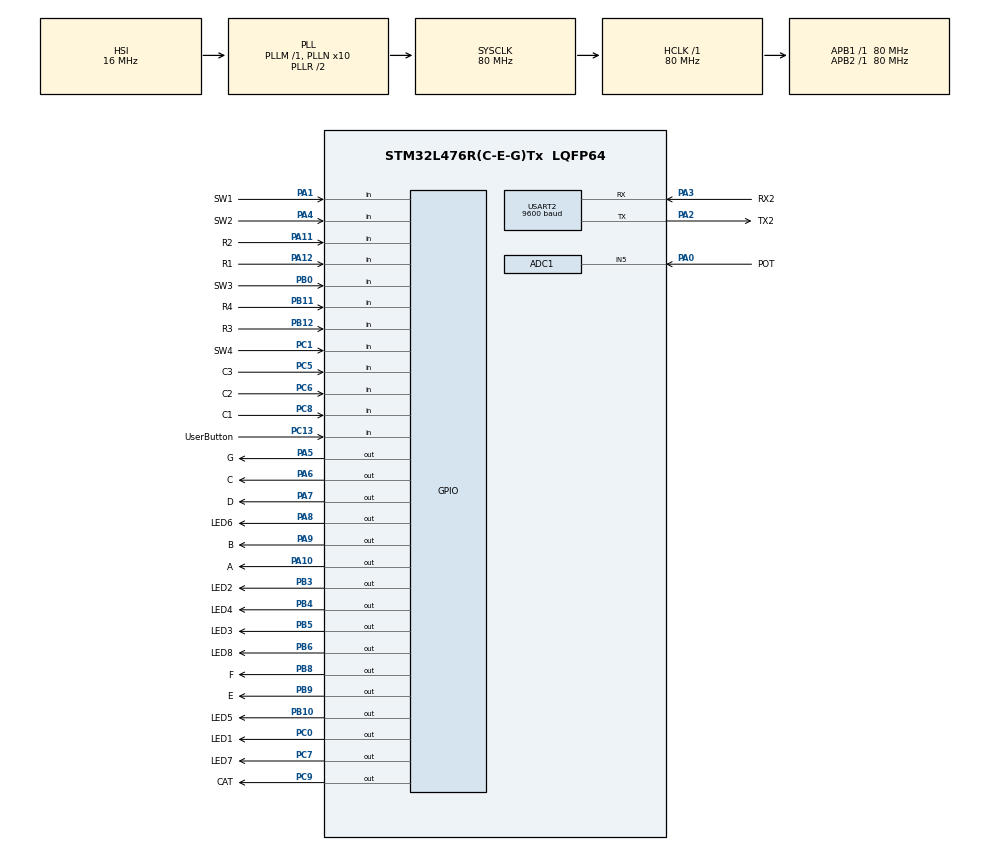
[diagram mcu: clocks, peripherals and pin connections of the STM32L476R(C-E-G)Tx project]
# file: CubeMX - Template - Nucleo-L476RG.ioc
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ADC1.Channel-0\#ChannelRegularConversion=ADC_CHANNEL_5
ADC1.NbrOfConversionFlag=1
ADC1.OffsetNumber-0\#ChannelRegularConversion=ADC_OFFSET_NONE
ADC1.Overrun=ADC_OVR_DATA_OVERWRITTEN
ADC1.Rank-0\#ChannelRegularConversion=1
ADC1.Resolution=ADC_RESOLUTION_12B
ADC1.SamplingTime-0\#ChannelRegularConversion=ADC_SAMPLETIME_2CYCLES_5
ADC1.master=1
Mcu.Family=STM32L4
Mcu.Name=STM32L476R(C-E-G)Tx
Mcu.Package=LQFP64
NVIC.PriorityGroup=NVIC_PRIORITYGROUP_4
PA0.GPIO_Label=POT
PA0.Signal=ADCx_IN5
PA1.GPIO_Label=SW1
PA1.Signal=GPIO_Input
PA10.GPIO_Label=A
PA10.Signal=GPIO_Output
PA11.GPIO_Label=R2
PA11.Signal=GPIO_Input
PA12.GPIO_Label=R1
PA12.Signal=GPIO_Input
PA13\ (JTMS-SWDIO).GPIO_Label=TMS
PA13\ (JTMS-SWDIO).Mode=Serial_Wire
PA13\ (JTMS-SWDIO).Signal=SYS_JTMS-SWDIO
PA14\ (JTCK-SWCLK).GPIO_Label=TCK
PA14\ (JTCK-SWCLK).Mode=Serial_Wire
PA14\ (JTCK-SWCLK).Signal=SYS_JTCK-SWCLK
PA2.GPIO_Label=TX2
PA2.GPIO_Mode=GPIO_MODE_AF_PP
PA2.GPIO_PuPd=GPIO_NOPULL
PA2.GPIO_Speed=GPIO_SPEED_FREQ_VERY_HIGH
PA2.Mode=Asynchronous
PA2.Signal=USART2_TX
PA3.GPIO_Label=RX2
PA3.GPIO_Mode=GPIO_MODE_AF_PP
PA3.GPIO_PuPd=GPIO_NOPULL
PA3.GPIO_Speed=GPIO_SPEED_FREQ_VERY_HIGH
PA3.Mode=Asynchronous
PA3.Signal=USART2_RX
PA4.GPIO_Label=SW2
PA4.Signal=GPIO_Input
PA5.GPIO_Label=G
PA5.GPIO_ModeDefaultOutputPP=GPIO_MODE_OUTPUT_PP
PA5.GPIO_PuPd=GPIO_NOPULL
PA5.GPIO_Speed=GPIO_SPEED_FREQ_LOW
PA5.Signal=GPIO_Output
PA6.GPIO_Label=C
PA6.Signal=GPIO_Output
PA7.GPIO_Label=D
PA7.Signal=GPIO_Output
PA8.GPIO_Label=LED6
PA8.Signal=GPIO_Output
PA9.GPIO_Label=B
PA9.Signal=GPIO_Output
PB0.GPIO_Label=SW3
PB0.Signal=GPIO_Input
PB10.GPIO_Label=LED5
PB10.Signal=GPIO_Output
PB11.GPIO_Label=R4
PB11.Signal=GPIO_Input
PB12.GPIO_Label=R3
PB12.Signal=GPIO_Input
PB3\ (JTDO-TRACESWO).GPIO_Label=LED2
PB3\ (JTDO-TRACESWO).Signal=GPIO_Output
PB4\ (NJTRST).GPIO_Label=LED4
PB4\ (NJTRST).Signal=GPIO_Output
PB5.GPIO_Label=LED3
PB5.Signal=GPIO_Output
PB6.GPIO_Label=LED8
PB6.Signal=GPIO_Output
PB8.GPIO_Label=F
PB8.Signal=GPIO_Output
PB9.GPIO_Label=E
PB9.Signal=GPIO_Output
PC0.GPIO_Label=LED1
PC0.Signal=GPIO_Output
PC1.GPIO_Label=SW4
PC1.Signal=GPIO_Input
PC13.GPIO_Label=UserButton
PC13.Signal=GPIO_Input
PC5.GPIO_Label=C3
PC5.GPIO_PuPd=GPIO_PULLUP
PC5.Signal=GPIO_Input
PC6.GPIO_Label=C2
PC6.GPIO_PuPd=GPIO_PULLUP
PC6.Signal=GPIO_Input
PC7.GPIO_Label=LED7
PC7.Signal=GPIO_Output
PC8.GPIO_Label=C1
PC8.GPIO_PuPd=GPIO_PULLUP
PC8.Signal=GPIO_Input
PC9.GPIO_Label=CAT
PC9.Signal=GPIO_Output
ProjectManager.HeapSize=0x200
ProjectManager.StackSize=0x400
ProjectManager.TargetToolchain=MDK-ARM V5.32
RCC.ADCFreq_Value=64000000
RCC.AHBFreq_Value=80000000
RCC.APB1Freq_Value=80000000
RCC.APB1TimFreq_Value=80000000
RCC.APB2Freq_Value=80000000
RCC.APB2TimFreq_Value=80000000
RCC.CortexFreq_Value=80000000
RCC.HCLKFreq_Value=80000000
RCC.HSE_VALUE=8000000
RCC.HSI_VALUE=16000000
RCC.LSE_VALUE=32768
RCC.MSI_VALUE=4000000
RCC.PLLN=10
RCC.PLLSourceVirtual=RCC_PLLSOURCE_HSI
RCC.PREFETCH_ENABLE=1
RCC.SYSCLKFreq_VALUE=80000000
RCC.SYSCLKSource=RCC_SYSCLKSOURCE_PLLCLK
RCC.USBFreq_Value=64000000
RCC.VCOOutputFreq_Value=160000000
SH.ADCx_IN5.0=ADC1_IN5,IN5-Single-Ended
USART2.BaudRate=9600
USART2.OverrunDisableParam=ADVFEATURE_OVERRUN_DISABLE
USART2.VirtualMode-Asynchronous=VM_ASYNC
board=NUCLEO-L476RG

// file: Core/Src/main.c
/* USER CODE BEGIN Header */
/**
  ******************************************************************************
  * @file           : main.c
  * @brief          : Main program body
  ******************************************************************************
  * @attention
  *
  * Copyright (c) 2023 STMicroelectronics.
  * All rights reserved.
  *
  * This software is licensed under terms that can be found in the LICENSE file
  * in the root directory of this software component.
  * If no LICENSE file comes with this software, it is provided AS-IS.
  *
  ******************************************************************************
  */
	// Versie: 20252026
/* USER CODE END Header */
#include "main.h"

/* USER CODE BEGIN Includes */
#include "leds.h"
#include "buttons.h"
#include "usart2.h"
#include "ad.h"
#include "stdio.h"
#include "keypad.h"
#include "pmodssd.h"
#include <string.h>
/* USER CODE END Includes */

ADC_HandleTypeDef hadc1;

UART_HandleTypeDef huart2;

/* USER CODE BEGIN PV */
static uint8_t i = 0;
static uint16_t keys = 0, keysPrevious = 0;
static bool anyKeyPressed = false;
volatile uint8_t count = 0;
static uint8_t keypadInput = 0;
static uint8_t keypadSpecialInput = 0;
volatile uint8_t pressedKey = 0;

/* USER CODE END PV */

void SystemClock_Config(void);
static void MX_GPIO_Init(void);
static void MX_ADC1_Init(void);
static void MX_USART2_UART_Init(void);

int main(void)
{

  /* MCU Configuration--------------------------------------------------------*/

  /* Reset of all peripherals, Initializes the Flash interface and the Systick. */
  HAL_Init();

  /* Configure the system clock */
  SystemClock_Config();

  /* Initialize all configured peripherals */
  MX_GPIO_Init();
  MX_ADC1_Init();
  MX_USART2_UART_Init();
  /* USER CODE BEGIN 2 */
	// Laten weten dat we opgestart zijn, via de USART2 (USB).
	printf("Reboot\r\n");
  /* USER CODE END 2 */

  /* Infinite loop */
  /* USER CODE BEGIN WHILE */
  while (1)
  {
		// Toestand van de knoppen opvragen. E�n bit per knop. Dus 12 bit nodig...
		keys = GetKeys();

		switch(keys)
		{
			case 0x0400:
				SetSegments(0x0000,right);
				pressedKey = 0;
			break;
			case 0x0001:
				SetSegments(0x0001,right);
				pressedKey = 1;
			break;
			case 0x0002:
				SetSegments(0x0002,right);
				pressedKey = 2;
			break;
			case 0x0004:
				SetSegments(0x0003,right);
				pressedKey = 3;
			break;
			case 0x0008:
				SetSegments(0x0004,right);
				pressedKey = 4;
			break;
			case 0x0010:
				SetSegments(0x0005,right);
				pressedKey = 5;
			break;
			case 0x0020:
				SetSegments(0x0006,right);
				pressedKey = 6;
			break;
			case 0x0040:
				SetSegments(0x0007,right);
				pressedKey = 7;
			break;
			case 0x0080:
				SetSegments(0x0008,right);
				pressedKey = 8;
			break;
			case 0x0100:
				SetSegments(0x0009,right);
				pressedKey = 9;
			break;
			case 0x0200:
				SetSegments(none,none);
				pressedKey = -1;
			break;
			case 0x0800:
				SetSegments(none,none);
				pressedKey = -2;
			break;

}

		// Build JSON string
    char jsonBuffer[32];
    sprintf(jsonBuffer, "{\"keystate\":%d}\r\n", pressedKey);

    // Send over UART
    HAL_UART_Transmit(&huart2, (uint8_t*)jsonBuffer, strlen(jsonBuffer), HAL_MAX_DELAY);

		// Iedere 20ms uitlezen.
	  HAL_Delay(50);

    /* USER CODE END WHILE */

  }
}

void SystemClock_Config(void)
{
  RCC_OscInitTypeDef RCC_OscInitStruct = {0};
  RCC_ClkInitTypeDef RCC_ClkInitStruct = {0};

  /** Configure the main internal regulator output voltage
  */
  if (HAL_PWREx_ControlVoltageScaling(PWR_REGULATOR_VOLTAGE_SCALE1) != HAL_OK)
  {
    Error_Handler();
  }

  /** Initializes the RCC Oscillators according to the specified parameters
  * in the RCC_OscInitTypeDef structure.
  */
  RCC_OscInitStruct.OscillatorType = RCC_OSCILLATORTYPE_HSI;
  RCC_OscInitStruct.HSIState = RCC_HSI_ON;
  RCC_OscInitStruct.HSICalibrationValue = RCC_HSICALIBRATION_DEFAULT;
  RCC_OscInitStruct.PLL.PLLState = RCC_PLL_ON;
  RCC_OscInitStruct.PLL.PLLSource = RCC_PLLSOURCE_HSI;
  RCC_OscInitStruct.PLL.PLLM = 1;
  RCC_OscInitStruct.PLL.PLLN = 10;
  RCC_OscInitStruct.PLL.PLLP = RCC_PLLP_DIV7;
  RCC_OscInitStruct.PLL.PLLQ = RCC_PLLQ_DIV2;
  RCC_OscInitStruct.PLL.PLLR = RCC_PLLR_DIV2;
  if (HAL_RCC_OscConfig(&RCC_OscInitStruct) != HAL_OK)
  {
    Error_Handler();
  }

  /** Initializes the CPU, AHB and APB buses clocks
  */
  RCC_ClkInitStruct.ClockType = RCC_CLOCKTYPE_HCLK|RCC_CLOCKTYPE_SYSCLK
                              |RCC_CLOCKTYPE_PCLK1|RCC_CLOCKTYPE_PCLK2;
  RCC_ClkInitStruct.SYSCLKSource = RCC_SYSCLKSOURCE_PLLCLK;
  RCC_ClkInitStruct.AHBCLKDivider = RCC_SYSCLK_DIV1;
  RCC_ClkInitStruct.APB1CLKDivider = RCC_HCLK_DIV1;
  RCC_ClkInitStruct.APB2CLKDivider = RCC_HCLK_DIV1;

  if (HAL_RCC_ClockConfig(&RCC_ClkInitStruct, FLASH_LATENCY_4) != HAL_OK)
  {
    Error_Handler();
  }
}

static void MX_ADC1_Init(void)
{

  ADC_MultiModeTypeDef multimode = {0};
  ADC_ChannelConfTypeDef sConfig = {0};

  /** Common config
  */
  hadc1.Instance = ADC1;
  hadc1.Init.ClockPrescaler = ADC_CLOCK_ASYNC_DIV1;
  hadc1.Init.Resolution = ADC_RESOLUTION_12B;
  hadc1.Init.DataAlign = ADC_DATAALIGN_RIGHT;
  hadc1.Init.ScanConvMode = ADC_SCAN_DISABLE;
  hadc1.Init.EOCSelection = ADC_EOC_SINGLE_CONV;
  hadc1.Init.LowPowerAutoWait = DISABLE;
  hadc1.Init.ContinuousConvMode = DISABLE;
  hadc1.Init.NbrOfConversion = 1;
  hadc1.Init.DiscontinuousConvMode = DISABLE;
  hadc1.Init.ExternalTrigConv = ADC_SOFTWARE_START;
  hadc1.Init.ExternalTrigConvEdge = ADC_EXTERNALTRIGCONVEDGE_NONE;
  hadc1.Init.DMAContinuousRequests = DISABLE;
  hadc1.Init.Overrun = ADC_OVR_DATA_OVERWRITTEN;
  hadc1.Init.OversamplingMode = DISABLE;
  if (HAL_ADC_Init(&hadc1) != HAL_OK)
  {
    Error_Handler();
  }

  /** Configure the ADC multi-mode
  */
  multimode.Mode = ADC_MODE_INDEPENDENT;
  if (HAL_ADCEx_MultiModeConfigChannel(&hadc1, &multimode) != HAL_OK)
  {
    Error_Handler();
  }

  /** Configure Regular Channel
  */
  sConfig.Channel = ADC_CHANNEL_5;
  sConfig.Rank = ADC_REGULAR_RANK_1;
  sConfig.SamplingTime = ADC_SAMPLETIME_2CYCLES_5;
  sConfig.SingleDiff = ADC_SINGLE_ENDED;
  sConfig.OffsetNumber = ADC_OFFSET_NONE;
  sConfig.Offset = 0;
  if (HAL_ADC_ConfigChannel(&hadc1, &sConfig) != HAL_OK)
  {
    Error_Handler();
  }

}

static void MX_USART2_UART_Init(void)
{

  huart2.Instance = USART2;
  huart2.Init.BaudRate = 9600;
  huart2.Init.WordLength = UART_WORDLENGTH_8B;
  huart2.Init.StopBits = UART_STOPBITS_1;
  huart2.Init.Parity = UART_PARITY_NONE;
  huart2.Init.Mode = UART_MODE_TX_RX;
  huart2.Init.HwFlowCtl = UART_HWCONTROL_NONE;
  huart2.Init.OverSampling = UART_OVERSAMPLING_16;
  huart2.Init.OneBitSampling = UART_ONE_BIT_SAMPLE_DISABLE;
  huart2.AdvancedInit.AdvFeatureInit = UART_ADVFEATURE_RXOVERRUNDISABLE_INIT;
  huart2.AdvancedInit.OverrunDisable = UART_ADVFEATURE_OVERRUN_DISABLE;
  if (HAL_UART_Init(&huart2) != HAL_OK)
  {
    Error_Handler();
  }

}

static void MX_GPIO_Init(void)
{
  GPIO_InitTypeDef GPIO_InitStruct = {0};

  /* GPIO Ports Clock Enable */
  __HAL_RCC_GPIOC_CLK_ENABLE();
  __HAL_RCC_GPIOA_CLK_ENABLE();
  __HAL_RCC_GPIOB_CLK_ENABLE();

  /*Configure GPIO pin Output Level */
  HAL_GPIO_WritePin(GPIOC, LED1_Pin|LED7_Pin|CAT_Pin, GPIO_PIN_RESET);

  /*Configure GPIO pin Output Level */
  HAL_GPIO_WritePin(GPIOA, G_Pin|C_Pin|D_Pin|LED6_Pin
                          |B_Pin|A_Pin, GPIO_PIN_RESET);

  /*Configure GPIO pin Output Level */
  HAL_GPIO_WritePin(GPIOB, LED5_Pin|LED2_Pin|LED4_Pin|LED3_Pin
                          |LED8_Pin|F_Pin|E_Pin, GPIO_PIN_RESET);

  /*Configure GPIO pins : UserButton_Pin SW4_Pin */
  GPIO_InitStruct.Pin = UserButton_Pin|SW4_Pin;
  GPIO_InitStruct.Mode = GPIO_MODE_INPUT;
  GPIO_InitStruct.Pull = GPIO_NOPULL;
  HAL_GPIO_Init(GPIOC, &GPIO_InitStruct);

  /*Configure GPIO pins : LED1_Pin LED7_Pin CAT_Pin */
  GPIO_InitStruct.Pin = LED1_Pin|LED7_Pin|CAT_Pin;
  GPIO_InitStruct.Mode = GPIO_MODE_OUTPUT_PP;
  GPIO_InitStruct.Pull = GPIO_NOPULL;
  GPIO_InitStruct.Speed = GPIO_SPEED_FREQ_LOW;
  HAL_GPIO_Init(GPIOC, &GPIO_InitStruct);

  /*Configure GPIO pins : SW1_Pin SW2_Pin R2_Pin R1_Pin */
  GPIO_InitStruct.Pin = SW1_Pin|SW2_Pin|R2_Pin|R1_Pin;
  GPIO_InitStruct.Mode = GPIO_MODE_INPUT;
  GPIO_InitStruct.Pull = GPIO_NOPULL;
  HAL_GPIO_Init(GPIOA, &GPIO_InitStruct);

  /*Configure GPIO pins : G_Pin C_Pin D_Pin LED6_Pin
                           B_Pin A_Pin */
  GPIO_InitStruct.Pin = G_Pin|C_Pin|D_Pin|LED6_Pin
                          |B_Pin|A_Pin;
  GPIO_InitStruct.Mode = GPIO_MODE_OUTPUT_PP;
  GPIO_InitStruct.Pull = GPIO_NOPULL;
  GPIO_InitStruct.Speed = GPIO_SPEED_FREQ_LOW;
  HAL_GPIO_Init(GPIOA, &GPIO_InitStruct);

  /*Configure GPIO pins : C3_Pin C2_Pin C1_Pin */
  GPIO_InitStruct.Pin = C3_Pin|C2_Pin|C1_Pin;
  GPIO_InitStruct.Mode = GPIO_MODE_INPUT;
  GPIO_InitStruct.Pull = GPIO_PULLUP;
  HAL_GPIO_Init(GPIOC, &GPIO_InitStruct);

  /*Configure GPIO pins : SW3_Pin R4_Pin R3_Pin */
  GPIO_InitStruct.Pin = SW3_Pin|R4_Pin|R3_Pin;
  GPIO_InitStruct.Mode = GPIO_MODE_INPUT;
  GPIO_InitStruct.Pull = GPIO_NOPULL;
  HAL_GPIO_Init(GPIOB, &GPIO_InitStruct);

  /*Configure GPIO pins : LED5_Pin LED2_Pin LED4_Pin LED3_Pin
                           LED8_Pin F_Pin E_Pin */
  GPIO_InitStruct.Pin = LED5_Pin|LED2_Pin|LED4_Pin|LED3_Pin
                          |LED8_Pin|F_Pin|E_Pin;
  GPIO_InitStruct.Mode = GPIO_MODE_OUTPUT_PP;
  GPIO_InitStruct.Pull = GPIO_NOPULL;
  GPIO_InitStruct.Speed = GPIO_SPEED_FREQ_LOW;
  HAL_GPIO_Init(GPIOB, &GPIO_InitStruct);

}

void Error_Handler(void)
{
  __disable_irq();
  while (1)
  {
  }
}
#ifdef USE_FULL_ASSERT
/**
  * @brief  Reports the name of the source file and the source line number
  *         where the assert_param error has occurred.
  * @param  file: pointer to the source file name
  * @param  line: assert_param error line source number
  * @retval None
  */
void assert_failed(uint8_t *file, uint32_t line)
{
  /* USER CODE BEGIN 6 */
  /* User can add his own implementation to report the file name and line number,
     ex: printf("Wrong parameters value: file %s on line %d\r\n", file, line) */
// Versie: 20252026
  /* USER CODE END 6 */
}
#endif /* USE_FULL_ASSERT */
